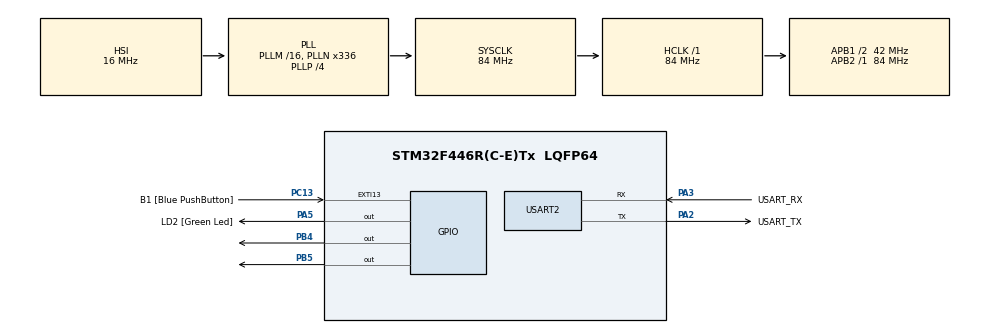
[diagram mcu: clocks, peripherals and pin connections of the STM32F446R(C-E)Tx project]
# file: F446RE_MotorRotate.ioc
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Mcu.Family=STM32F4
Mcu.Name=STM32F446R(C-E)Tx
Mcu.Package=LQFP64
NVIC.PriorityGroup=NVIC_PRIORITYGROUP_0
NVIC.TIM3_IRQn=true\:0\:0\:false\:false\:true\:true\:true\:true
PA13.GPIO_Label=TMS
PA13.Mode=Serial_Wire
PA13.Signal=SYS_JTMS-SWDIO
PA14.GPIO_Label=TCK
PA14.Mode=Serial_Wire
PA14.Signal=SYS_JTCK-SWCLK
PA2.GPIO_Label=USART_TX
PA2.Mode=Asynchronous
PA2.Signal=USART2_TX
PA3.GPIO_Label=USART_RX
PA3.Mode=Asynchronous
PA3.Signal=USART2_RX
PA5.GPIO_Label=LD2 [Green Led]
PA5.Signal=GPIO_Output
PB3.GPIO_Label=SWO
PB3.Signal=SYS_JTDO-SWO
PB4.Signal=GPIO_Output
PB5.Signal=GPIO_Output
PC13.GPIO_Label=B1 [Blue PushButton]
PC13.GPIO_ModeDefaultEXTI=GPIO_MODE_IT_FALLING
PC13.Signal=GPXTI13
PC14-OSC32_IN.Mode=LSE-External-Oscillator
PC14-OSC32_IN.Signal=RCC_OSC32_IN
PC15-OSC32_OUT.Mode=LSE-External-Oscillator
PC15-OSC32_OUT.Signal=RCC_OSC32_OUT
PH0-OSC_IN.Mode=HSE-External-Oscillator
PH0-OSC_IN.Signal=RCC_OSC_IN
PH1-OSC_OUT.Mode=HSE-External-Oscillator
PH1-OSC_OUT.Signal=RCC_OSC_OUT
ProjectManager.HeapSize=0x200
ProjectManager.StackSize=0x400
ProjectManager.TargetToolchain=STM32CubeIDE
RCC.48MHZClocksFreq_Value=84000000
RCC.AHBFreq_Value=84000000
RCC.APB1CLKDivider=RCC_HCLK_DIV2
RCC.APB1Freq_Value=42000000
RCC.APB1TimFreq_Value=84000000
RCC.APB2Freq_Value=84000000
RCC.APB2TimFreq_Value=84000000
RCC.CortexFreq_Value=84000000
RCC.FLatency-AdvancedSettings=FLASH_LATENCY_2
RCC.HCLKFreq_Value=84000000
RCC.HSE_VALUE=8000000
RCC.HSI_VALUE=16000000
RCC.PLLN=336
RCC.PLLP=RCC_PLLP_DIV4
RCC.SYSCLKFreq_VALUE=84000000
RCC.SYSCLKSource=RCC_SYSCLKSOURCE_PLLCLK
RCC.USBFreq_Value=168000000
RCC.VCOOutputFreq_Value=336000000
TIM3.Channel-Output\ Compare1\ No\ Output=TIM_CHANNEL_1
TIM3.Prescaler=840-1
USART2.VirtualMode=VM_ASYNC
VP_TIM3_VS_ClockSourceINT.Mode=Internal
VP_TIM3_VS_no_output1.Mode=Output Compare1 No Output
board=NUCLEO-F446RE

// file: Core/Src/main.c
/* USER CODE BEGIN Header */
/**
  ******************************************************************************
  * @file           : main.c
  * @brief          : Main program body
  ******************************************************************************
  * @attention
  *
  * Copyright (c) 2022 STMicroelectronics.
  * All rights reserved.
  *
  * This software is licensed under terms that can be found in the LICENSE file
  * in the root directory of this software component.
  * If no LICENSE file comes with this software, it is provided AS-IS.
  *
  ******************************************************************************
  */
/* USER CODE END Header */
#include "main.h"

/* USER CODE BEGIN Includes */
#include <stdio.h>
#include <math.h>
/* USER CODE END Includes */

/* USER CODE BEGIN PTD */
typedef struct {
float acceleration;
volatile unsigned int minStepInterval;
void (*dirFunc)(int);
void (*stepFunc)();

uint8_t homing;
unsigned int c0;
volatile int stepPosition;

volatile int dir; // 1 or -1
volatile int dir_inv; //set 1 to reverse the dir

volatile int pull_off; //set pull_off distance

volatile int seeking_vel;
volatile int homing_vel;

volatile unsigned int totalSteps;

volatile char movementDone;
volatile unsigned int rampUpStepCount;
volatile unsigned int n; // index
volatile float d; // current interval length
volatile unsigned long di; // d -> unsigned  di
volatile unsigned int stepCount;

}stepperInfo;

/* USER CODE END PTD */

 TIM_HandleTypeDef htim3;

UART_HandleTypeDef huart2;

/* USER CODE BEGIN PV */
 volatile stepperInfo stepper[1];
/* USER CODE END PV */

void SystemClock_Config(void);
static void MX_GPIO_Init(void);
static void MX_USART2_UART_Init(void);
static void MX_TIM3_Init(void);

/* USER CODE BEGIN 0 */
void Step0(){                                       //step pin
	//pull+

	HAL_GPIO_WritePin(GPIOB, GPIO_PIN_5, GPIO_PIN_RESET);
	HAL_GPIO_WritePin(GPIOB, GPIO_PIN_5, GPIO_PIN_SET);
}

void Dir0(int dir){
	HAL_GPIO_WritePin(GPIOB, GPIO_PIN_4, dir); //Dir0関数にdirピンを指定して格納
}

uint8_t remainingstepperFlag = 0;
uint8_t stopflag = 0;
void motorrotate(int absolute_steps){
	volatile stepperInfo* si = &stepper[0];	//stepper[0]のアドレスをstepperInfo* si に代入
	int steps = absolute_steps - si->stepPosition;
//	printf("steps:%d\r\n",steps);
	if(steps == 0){
					return;
				}
	si->dirFunc( steps < 0 ? 1 : 0);	//Dir0のプラスマイナスの判定して0より小さいなら1、大きいなら0をHAL_GPIO_WritePin(GPIOB, GPIO_PIN_4, dir)のdirにいれる
	si->dir = steps > 0 ? 1:-1;			//stepsが0より大きければ1、小さければ２をdirにいれる
	si->totalSteps = abs(steps);	//stepsの値をアブソリュートでtotalstepsに格納
	si->di = si->acceleration;      //変数*siがメンバc0にアクセス.した値に変数*siがメンバaccelerationにアクセス.した値を代入する
	si->stepCount = 0;
	si->n = 0;
//	printf("steps:%d\r\n",steps);
	remainingstepperFlag |= 1;
}
volatile uint8_t nextStepperFlag = 0;
void setNextInterruptInterval(){
	unsigned int mind = 999999;
	if( (remainingstepperFlag) && stepper[0].di < mind ){
		mind = stepper[0].di;		//diに格納されているの(acceleration)を読み込む
	}
	nextStepperFlag = 0;
	if( 1 && stepper[0].di == mind ){
		nextStepperFlag |= 1;
	}
	__HAL_TIM_SET_COMPARE(&htim3, TIM_CHANNEL_1, mind);		//mindにコンペアを設定
	if (remainingstepperFlag == 0){
		__HAL_TIM_SET_COMPARE(&htim3, TIM_CHANNEL_1, 65500);
	}
	__HAL_TIM_SET_COMPARE(&htim3, TIM_CHANNEL_1, mind);
	//printf("nownompare:%d\r\n",mind);
}
void rotationalprocess(){
	__HAL_TIM_SET_COMPARE(&htim3, TIM_CHANNEL_1, 65500);
//	int32_t current_value = 0;
//	current_value=tmc2209_readInt(&TMC2209, TMC2209_SG_RESULT);	//保持トルクの設定
//	printf("SG_RESULT : %ld\r\n", current_value);
	volatile stepperInfo* s = &stepper[0];
		if( (s->stepCount) < (s->totalSteps) ){		//1周ごとにカウントしたstepCountがabs(steps)より小さかったら==動作が終了するまで
				s->stepFunc();							//stepをOFF ONとする
				s->stepCount++;							//カウント
				s->stepPosition += s->dir;		//dir(+もしくはー(dirの向き）を加算してstepPositionに格納
				if ( (s->stepCount) >= (s->totalSteps) ){	//stepCountがtotalStepsを超えたとき、remainingstepperFlagを
					remainingstepperFlag &= ~1;
				}
		}
}
void HAL_TIM_OC_DelayElapsedCallback(TIM_HandleTypeDef *htim){      //指定したコンペアを超えた時発火
	//HAL_TIM_OC_Stop_IT(&htim3, TIM_CHANNEL_1);

		rotationalprocess();
		setNextInterruptInterval();
		__HAL_TIM_SET_COUNTER(&htim3, 0);			//カウンター0

}

void runAndWait(){
	setNextInterruptInterval();
//	currentcheck();
	while(remainingstepperFlag);
}
/* USER CODE END 0 */

int main(void)
{
  /* USER CODE BEGIN 1 */
	char rxbuf[1];
	char nonans[] ="Not Understand \r\n";

  /* USER CODE END 1 */

  /* MCU Configuration--------------------------------------------------------*/

  /* Reset of all peripherals, Initializes the Flash interface and the Systick. */
  HAL_Init();

  /* Configure the system clock */
  SystemClock_Config();

  /* USER CODE BEGIN SysInit */
  HAL_TIM_OC_Start_IT(&htim3, TIM_CHANNEL_1);

  /* USER CODE END SysInit */

  /* Initialize all configured peripherals */
  MX_GPIO_Init();
  MX_USART2_UART_Init();
  MX_TIM3_Init();
  /* USER CODE BEGIN 2 */
  stepper[0].dirFunc = Dir0;
  stepper[0].stepFunc = Step0;
  stepper[0].acceleration = 100-1;
  stepper[0].minStepInterval = 100;
  stepper[0].homing = 0;
  stepper[0].dir_inv = 1;
  stepper[0].seeking_vel = 100;
  stepper[0].homing_vel = 200;
  stepper[0].pull_off = 100;
  rxbuf[0]=0;
  /* USER CODE END 2 */

  /* Infinite loop */
  while (1)
  {

    /* USER CODE BEGIN 3 */
//	  HAL_UART_Receive_IT(&huart2,(uint8_t *)rxbuf, 1);
//	  HAL_UART_Transmit(&huart2,(uint8_t *)rxbuf,sizeof(rxbuf),3000);
//	  		  if (rxbuf[0] != 0){
//	  			  if(rxbuf[0] == '1'){
//	  				  //HAL_UART_Transmit_IT(&huart2,(uint8_t *)front, sizeof(front));
//	  				  printf("1:start\r\n");
	  				  motorrotate(5000);
	  				  runAndWait();
//	  				  motorrotate(0);
//	  				  runAndWait();
//	  				  HAL_Delay(100);
//	  				  printf("1:end\r\n");
//	  				  rxbuf[0]=0;

//	  			  }
//	  			  else{
//	  				  HAL_UART_Transmit_IT(&huart2,(uint8_t *)nonans, sizeof(nonans));
//	  				  rxbuf[0]=0;
//	  			  }
//	  		  }
  }

  /* USER CODE END 3 */
}

void SystemClock_Config(void)
{
  RCC_OscInitTypeDef RCC_OscInitStruct = {0};
  RCC_ClkInitTypeDef RCC_ClkInitStruct = {0};

  /** Configure the main internal regulator output voltage
  */
  __HAL_RCC_PWR_CLK_ENABLE();
  __HAL_PWR_VOLTAGESCALING_CONFIG(PWR_REGULATOR_VOLTAGE_SCALE3);

  /** Initializes the RCC Oscillators according to the specified parameters
  * in the RCC_OscInitTypeDef structure.
  */
  RCC_OscInitStruct.OscillatorType = RCC_OSCILLATORTYPE_HSI;
  RCC_OscInitStruct.HSIState = RCC_HSI_ON;
  RCC_OscInitStruct.HSICalibrationValue = RCC_HSICALIBRATION_DEFAULT;
  RCC_OscInitStruct.PLL.PLLState = RCC_PLL_ON;
  RCC_OscInitStruct.PLL.PLLSource = RCC_PLLSOURCE_HSI;
  RCC_OscInitStruct.PLL.PLLM = 16;
  RCC_OscInitStruct.PLL.PLLN = 336;
  RCC_OscInitStruct.PLL.PLLP = RCC_PLLP_DIV4;
  RCC_OscInitStruct.PLL.PLLQ = 2;
  RCC_OscInitStruct.PLL.PLLR = 2;
  if (HAL_RCC_OscConfig(&RCC_OscInitStruct) != HAL_OK)
  {
    Error_Handler();
  }

  /** Initializes the CPU, AHB and APB buses clocks
  */
  RCC_ClkInitStruct.ClockType = RCC_CLOCKTYPE_HCLK|RCC_CLOCKTYPE_SYSCLK
                              |RCC_CLOCKTYPE_PCLK1|RCC_CLOCKTYPE_PCLK2;
  RCC_ClkInitStruct.SYSCLKSource = RCC_SYSCLKSOURCE_PLLCLK;
  RCC_ClkInitStruct.AHBCLKDivider = RCC_SYSCLK_DIV1;
  RCC_ClkInitStruct.APB1CLKDivider = RCC_HCLK_DIV2;
  RCC_ClkInitStruct.APB2CLKDivider = RCC_HCLK_DIV1;

  if (HAL_RCC_ClockConfig(&RCC_ClkInitStruct, FLASH_LATENCY_2) != HAL_OK)
  {
    Error_Handler();
  }
}

static void MX_TIM3_Init(void)
{

  TIM_ClockConfigTypeDef sClockSourceConfig = {0};
  TIM_MasterConfigTypeDef sMasterConfig = {0};
  TIM_OC_InitTypeDef sConfigOC = {0};

  htim3.Instance = TIM3;
  htim3.Init.Prescaler = 840-1;
  htim3.Init.CounterMode = TIM_COUNTERMODE_UP;
  htim3.Init.Period = 65535;
  htim3.Init.ClockDivision = TIM_CLOCKDIVISION_DIV1;
  htim3.Init.AutoReloadPreload = TIM_AUTORELOAD_PRELOAD_DISABLE;
  if (HAL_TIM_Base_Init(&htim3) != HAL_OK)
  {
    Error_Handler();
  }
  sClockSourceConfig.ClockSource = TIM_CLOCKSOURCE_INTERNAL;
  if (HAL_TIM_ConfigClockSource(&htim3, &sClockSourceConfig) != HAL_OK)
  {
    Error_Handler();
  }
  if (HAL_TIM_OC_Init(&htim3) != HAL_OK)
  {
    Error_Handler();
  }
  sMasterConfig.MasterOutputTrigger = TIM_TRGO_RESET;
  sMasterConfig.MasterSlaveMode = TIM_MASTERSLAVEMODE_DISABLE;
  if (HAL_TIMEx_MasterConfigSynchronization(&htim3, &sMasterConfig) != HAL_OK)
  {
    Error_Handler();
  }
  sConfigOC.OCMode = TIM_OCMODE_TIMING;
  sConfigOC.Pulse = 0;
  sConfigOC.OCPolarity = TIM_OCPOLARITY_HIGH;
  sConfigOC.OCFastMode = TIM_OCFAST_DISABLE;
  if (HAL_TIM_OC_ConfigChannel(&htim3, &sConfigOC, TIM_CHANNEL_1) != HAL_OK)
  {
    Error_Handler();
  }

}

static void MX_USART2_UART_Init(void)
{

  huart2.Instance = USART2;
  huart2.Init.BaudRate = 115200;
  huart2.Init.WordLength = UART_WORDLENGTH_8B;
  huart2.Init.StopBits = UART_STOPBITS_1;
  huart2.Init.Parity = UART_PARITY_NONE;
  huart2.Init.Mode = UART_MODE_TX_RX;
  huart2.Init.HwFlowCtl = UART_HWCONTROL_NONE;
  huart2.Init.OverSampling = UART_OVERSAMPLING_16;
  if (HAL_UART_Init(&huart2) != HAL_OK)
  {
    Error_Handler();
  }

}

static void MX_GPIO_Init(void)
{
  GPIO_InitTypeDef GPIO_InitStruct = {0};

  /* GPIO Ports Clock Enable */
  __HAL_RCC_GPIOC_CLK_ENABLE();
  __HAL_RCC_GPIOH_CLK_ENABLE();
  __HAL_RCC_GPIOA_CLK_ENABLE();
  __HAL_RCC_GPIOB_CLK_ENABLE();

  /*Configure GPIO pin Output Level */
  HAL_GPIO_WritePin(LD2_GPIO_Port, LD2_Pin, GPIO_PIN_RESET);

  /*Configure GPIO pin Output Level */
  HAL_GPIO_WritePin(GPIOB, GPIO_PIN_4|GPIO_PIN_5, GPIO_PIN_RESET);

  /*Configure GPIO pin : B1_Pin */
  GPIO_InitStruct.Pin = B1_Pin;
  GPIO_InitStruct.Mode = GPIO_MODE_IT_FALLING;
  GPIO_InitStruct.Pull = GPIO_NOPULL;
  HAL_GPIO_Init(B1_GPIO_Port, &GPIO_InitStruct);

  /*Configure GPIO pin : LD2_Pin */
  GPIO_InitStruct.Pin = LD2_Pin;
  GPIO_InitStruct.Mode = GPIO_MODE_OUTPUT_PP;
  GPIO_InitStruct.Pull = GPIO_NOPULL;
  GPIO_InitStruct.Speed = GPIO_SPEED_FREQ_LOW;
  HAL_GPIO_Init(LD2_GPIO_Port, &GPIO_InitStruct);

  /*Configure GPIO pins : PB4 PB5 */
  GPIO_InitStruct.Pin = GPIO_PIN_4|GPIO_PIN_5;
  GPIO_InitStruct.Mode = GPIO_MODE_OUTPUT_PP;
  GPIO_InitStruct.Pull = GPIO_NOPULL;
  GPIO_InitStruct.Speed = GPIO_SPEED_FREQ_LOW;
  HAL_GPIO_Init(GPIOB, &GPIO_InitStruct);

}

void Error_Handler(void)
{
  __disable_irq();
  while (1)
  {
  }
}
